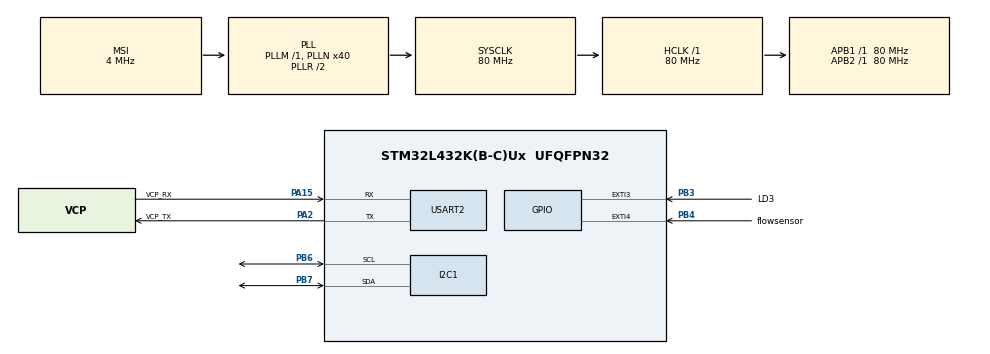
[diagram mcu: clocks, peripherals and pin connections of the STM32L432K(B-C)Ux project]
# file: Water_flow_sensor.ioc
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I2C1.Timing=0x10909CEC
Mcu.Family=STM32L4
Mcu.Name=STM32L432K(B-C)Ux
Mcu.Package=UFQFPN32
NVIC.EXTI4_IRQn=true\:0\:0\:false\:false\:true\:true\:true\:true
NVIC.PriorityGroup=NVIC_PRIORITYGROUP_4
NVIC.TIM6_DAC_IRQn=true\:0\:0\:false\:false\:true\:true\:true\:true
NVIC.USART2_IRQn=true\:0\:0\:false\:false\:true\:true\:true\:true
PA0.GPIO_Label=MCO [High speed clock in]
PA0.Mode=HSE-External-Clock-Source-for-LittleOrca
PA0.Signal=RCC_CK_IN
PA13\ (JTMS-SWDIO).GPIO_Label=SWDIO
PA13\ (JTMS-SWDIO).Mode=Serial_Wire
PA13\ (JTMS-SWDIO).Signal=SYS_JTMS-SWDIO
PA14\ (JTCK-SWCLK).GPIO_Label=SWCLK
PA14\ (JTCK-SWCLK).Mode=Serial_Wire
PA14\ (JTCK-SWCLK).Signal=SYS_JTCK-SWCLK
PA15\ (JTDI).GPIO_Label=VCP_RX
PA15\ (JTDI).Mode=Asynchronous
PA15\ (JTDI).Signal=USART2_RX
PA2.GPIO_Label=VCP_TX
PA2.Mode=Asynchronous
PA2.Signal=USART2_TX
PB3\ (JTDO-TRACESWO).GPIO_Label=LD3
PB3\ (JTDO-TRACESWO).Signal=GPXTI3
PB4\ (NJTRST).GPIO_Label=flowsensor
PB4\ (NJTRST).GPIO_ModeDefaultEXTI=GPIO_MODE_IT_RISING
PB4\ (NJTRST).GPIO_PuPd=GPIO_NOPULL
PB4\ (NJTRST).Signal=GPXTI4
PB6.Mode=I2C
PB6.Signal=I2C1_SCL
PB7.Mode=I2C
PB7.Signal=I2C1_SDA
PC14-OSC32_IN\ (PC14).Mode=LSE-External-Oscillator
PC14-OSC32_IN\ (PC14).Signal=RCC_OSC32_IN
PC15-OSC32_OUT\ (PC15).Mode=LSE-External-Oscillator
PC15-OSC32_OUT\ (PC15).Signal=RCC_OSC32_OUT
ProjectManager.HeapSize=0x200
ProjectManager.StackSize=0x400
ProjectManager.TargetToolchain=STM32CubeIDE
RCC.ADCFreq_Value=16000000
RCC.AHBFreq_Value=80000000
RCC.APB1Freq_Value=80000000
RCC.APB1TimFreq_Value=80000000
RCC.APB2Freq_Value=80000000
RCC.APB2TimFreq_Value=80000000
RCC.CortexFreq_Value=80000000
RCC.HCLKFreq_Value=80000000
RCC.HSE_VALUE=8000000
RCC.HSI16_VALUE=16000000
RCC.HSI48_VALUE=48000000
RCC.HSI_VALUE=16000000
RCC.MSI_VALUE=4000000
RCC.PLLMUL=RCC_PLLMUL_4
RCC.PLLN=40
RCC.SYSCLKFreq_VALUE=80000000
RCC.SYSCLKSource=RCC_SYSCLKSOURCE_PLLCLK
RCC.USBFreq_Value=16000000
RCC.VCOOutputFreq_Value=160000000
TIM6.Period=7999
TIM6.Prescaler=9999
USART2.VirtualMode-Asynchronous=VM_ASYNC
VP_TIM6_VS_ClockSourceINT.Mode=Enable_Timer
board=NUCLEO-L432KC

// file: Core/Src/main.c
/* USER CODE BEGIN Header */
/**
  ******************************************************************************
  * @file           : main.c
  * @brief          : Main program body
  ******************************************************************************
  * @attention
  *
  * Copyright (c) 2023 STMicroelectronics.
  * All rights reserved.
  *
  * This software is licensed under terms that can be found in the LICENSE file
  * in the root directory of this software component.
  * If no LICENSE file comes with this software, it is provided AS-IS.
  *
  ******************************************************************************
  */
/* USER CODE END Header */
#include "main.h"
#include "i2c.h"
#include "tim.h"
#include "usart.h"
#include "gpio.h"

/* USER CODE BEGIN Includes */
#include "lcd_i2c.h"
#include <stdio.h>
/* USER CODE END Includes */

/* USER CODE BEGIN PV */

 struct lcd_disp disp;

void HAL_TIM_PeriodElapsedCallback(TIM_HandleTypeDef *htim){
  	if(htim->Instance == TIM6)
  	{
  	//	sprintf((char *)disp.f_line, "Shoty");
 	//	sprintf((char *)disp.s_line, "Driny");
  		lcd_display(&disp);

 		//HAL_GPIO_TogglePin(LD3_GPIO_Port, LD3_Pin);
  	}
  }

/* USER CODE END PV */

void SystemClock_Config(void);

/* USER CODE BEGIN 0 */

/*
volatile int flow_frequency;
float vol = 0.0, l_minute;
float totalVolume = 0.0; // Nowa zmienna do śledzenia łącznej objętości
float xy = 0.0;
GPIO_TypeDef* flowsensor_port = GPIOB; // Zmień na odpowiedni port GPIO
uint16_t flowsensor_pin = GPIO_PIN_4;   // Zmień na odpowiedni pin

unsigned long currentTime;
unsigned long cloopTime;

*/

uint16_t flowsensor = GPIO_PIN_4;   // Zmień na odpowiedni pin

volatile int flow_frequency;
float vol, l_minute;
float xy = 0.0;
//unsigned char flowsensor = 2; // Sensor Input
unsigned long currentTime;
unsigned long cloopTime;
unsigned long totalImpulses = 0; // Nowa zmienna do przechowywania liczby impulsów
float imp = 0;
float total_ml;
float ML;

void flow () // Interrupt function to increment flow
{
   flow_frequency++;
   totalImpulses++;
   HAL_GPIO_TogglePin(LD3_GPIO_Port, LD3_Pin);

}

struct lcd_disp disp;

/* USER CODE END 0 */

int main(void)
{

  /* MCU Configuration--------------------------------------------------------*/

  /* Reset of all peripherals, Initializes the Flash interface and the Systick. */
  HAL_Init();

  /* Configure the system clock */
  SystemClock_Config();

  /* Initialize all configured peripherals */
  MX_GPIO_Init();
  MX_USART2_UART_Init();
  MX_I2C1_Init();
  MX_TIM6_Init();
  /* USER CODE BEGIN 2 */
  	disp.addr = (0x27 << 1);
	disp.bl = true;
	lcd_init(&disp);

	currentTime = HAL_GetTick();
    cloopTime = currentTime;
	 totalImpulses = 0;

  /* USER CODE END 2 */

  /* Infinite loop */
  /* USER CODE BEGIN WHILE */
  while (1)
  {

		  currentTime = HAL_GetTick();
	          // Every second, calculate and print litres/hour
	          if (currentTime >= (cloopTime + 1000))
	          {
	              cloopTime = currentTime; // Updates cloopTime
	              if (flow_frequency != 0)
	              {
	                  l_minute = (flow_frequency / 1800); // (Pulse frequency x 60 min) / 9.8 Q = flowrate in L/hour

	                  // Przeliczenie ilości impulsów na ilość mililitrów
	                //  float ml_per_impulse = 0.95;
	                //  total_ml = totalImpulses * ml_per_impulse;

	                 // l_minute = l_minute / 60;
	              //    l_minute = l_minute * 1000;
	              //    vol = vol + (l_minute / 7.58);
	                  vol = vol + l_minute;
	                  xy = vol * 1000;
	                  xy /= 200;

	                  ML = totalImpulses * 0.48 ;

	                  sprintf((char *)disp.f_line, "I: %lu, %2.2f ml, ", totalImpulses, ML);
	                  lcd_display(&disp);

	                  // Dodanie informacji o ilości impulsów i ilości mililitrów
	                  sprintf((char *)disp.s_line, "p: %2.2f, %2.2f ml", vol, total_ml);
	                  lcd_display(&disp);

	                  flow_frequency = 0; // Reset Counter
	              }
	              else
	              {
	                  // Dodanie informacji o ilości impulsów i ilości mililitrów
	                 // sprintf((char *)disp.f_line, "%.2f, I: %lu, %.2f ml, ", xy, totalImpulses, total_ml);
	                  sprintf((char *)disp.f_line, "I: %lu, %2.2f ml, ",totalImpulses, ML);

	                  sprintf((char *)disp.s_line, "V: %2.2f X", vol);
	                  lcd_display(&disp);
	              }
	          }

    /* USER CODE END WHILE */

  }
}

void SystemClock_Config(void)
{
  RCC_OscInitTypeDef RCC_OscInitStruct = {0};
  RCC_ClkInitTypeDef RCC_ClkInitStruct = {0};

  /** Configure the main internal regulator output voltage
  */
  if (HAL_PWREx_ControlVoltageScaling(PWR_REGULATOR_VOLTAGE_SCALE1) != HAL_OK)
  {
    Error_Handler();
  }

  /** Configure LSE Drive Capability
  */
  HAL_PWR_EnableBkUpAccess();
  __HAL_RCC_LSEDRIVE_CONFIG(RCC_LSEDRIVE_LOW);

  /** Initializes the RCC Oscillators according to the specified parameters
  * in the RCC_OscInitTypeDef structure.
  */
  RCC_OscInitStruct.OscillatorType = RCC_OSCILLATORTYPE_LSE|RCC_OSCILLATORTYPE_MSI;
  RCC_OscInitStruct.LSEState = RCC_LSE_ON;
  RCC_OscInitStruct.MSIState = RCC_MSI_ON;
  RCC_OscInitStruct.MSICalibrationValue = 0;
  RCC_OscInitStruct.MSIClockRange = RCC_MSIRANGE_6;
  RCC_OscInitStruct.PLL.PLLState = RCC_PLL_ON;
  RCC_OscInitStruct.PLL.PLLSource = RCC_PLLSOURCE_MSI;
  RCC_OscInitStruct.PLL.PLLM = 1;
  RCC_OscInitStruct.PLL.PLLN = 40;
  RCC_OscInitStruct.PLL.PLLP = RCC_PLLP_DIV7;
  RCC_OscInitStruct.PLL.PLLQ = RCC_PLLQ_DIV2;
  RCC_OscInitStruct.PLL.PLLR = RCC_PLLR_DIV2;
  if (HAL_RCC_OscConfig(&RCC_OscInitStruct) != HAL_OK)
  {
    Error_Handler();
  }

  /** Initializes the CPU, AHB and APB buses clocks
  */
  RCC_ClkInitStruct.ClockType = RCC_CLOCKTYPE_HCLK|RCC_CLOCKTYPE_SYSCLK
                              |RCC_CLOCKTYPE_PCLK1|RCC_CLOCKTYPE_PCLK2;
  RCC_ClkInitStruct.SYSCLKSource = RCC_SYSCLKSOURCE_PLLCLK;
  RCC_ClkInitStruct.AHBCLKDivider = RCC_SYSCLK_DIV1;
  RCC_ClkInitStruct.APB1CLKDivider = RCC_HCLK_DIV1;
  RCC_ClkInitStruct.APB2CLKDivider = RCC_HCLK_DIV1;

  if (HAL_RCC_ClockConfig(&RCC_ClkInitStruct, FLASH_LATENCY_4) != HAL_OK)
  {
    Error_Handler();
  }

  /** Enable MSI Auto calibration
  */
  HAL_RCCEx_EnableMSIPLLMode();
}

/* USER CODE BEGIN 4 */

//
//void EXTI2_IRQHandler(void)
//{
//    HAL_GPIO_EXTI_IRQHandler(flowsensor_pin);
//}
//
//
//
//void HAL_GPIO_EXTI_Callback(uint16_t GPIO_Pin)
//{
//    if (GPIO_Pin == flowsensor_pin)
//    {
//        flow();
//    }
//}
//
//
//
//void flow(void)
//{
//    flow_frequency++;
//    // Add any additional logic needed for the flow function
//}
//
//
//

void HAL_GPIO_EXTI_Callback(uint16_t GPIO_Pin)
{
    if (GPIO_Pin == flowsensor)
    {
      //  HAL_GPIO_TogglePin(GPIOB, GPIO_PIN_3); // Toggle an LED or use an oscilloscope to check if the interrupt is working
        flow();
    }
}

/* USER CODE END 4 */

void Error_Handler(void)
{
  __disable_irq();
  while (1)
  {
  }
}
